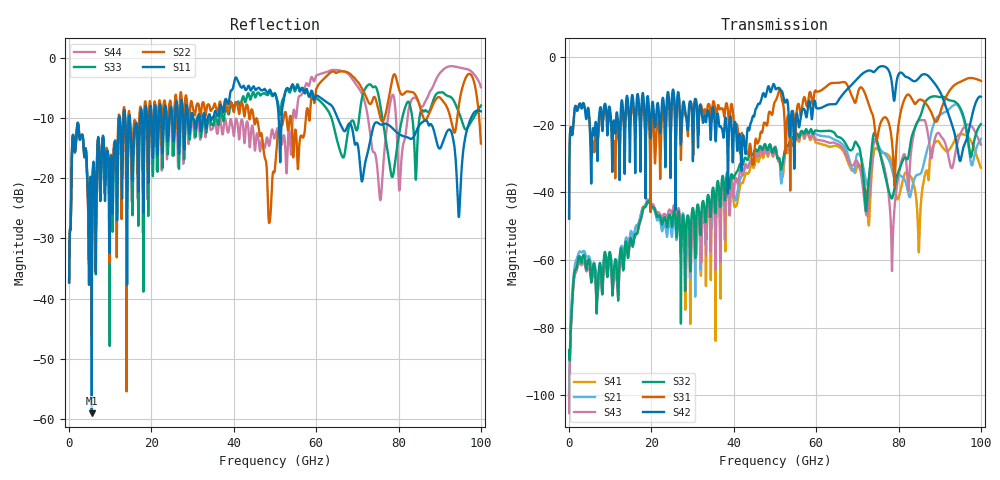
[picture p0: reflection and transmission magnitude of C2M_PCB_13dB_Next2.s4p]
! Info: Touchstone file created by Circ.  Input file=Intel_C2M_200G_2in_202204012_staggered.circ
# Hz S RI R 50
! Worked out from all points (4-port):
!   10000 points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, 10 MHz to 100 GHz, reference 50 ohm
!   strongest paths, dB at 10 MHz, 25.01 GHz, 50.01 GHz, 75.01 GHz, 100 GHz:
!     S42: -47.7, -11.6, -9.0, -3.2, -11.7
!     S31: -47.9, -13.8, -13.2, -22.9, -7.1
!     S32: -86.7, -50.3, -26.7, -26.0, -19.9
!     S43: -100.1, -46.2, -26.6, -26.5, -25.9
!     S21: -97.6, -52.9, -26.9, -25.9, -24.2
!     S41: -98.4, -48.3, -27.1, -27.4, -32.7
!   lowest |S11| = -59.0 dB at 5.52 GHz (marker M1), VSWR 1.00, Z = 50 - j0.104 ohm
!   |S11| at or under -10 dB: start of sweep to 12.13 GHz; 14.76 GHz to 17.25 GHz (2.487 GHz wide, 15.5 % of centre); 65.19 GHz to 97.61 GHz (32.42 GHz wide, 39.8 % of centre)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
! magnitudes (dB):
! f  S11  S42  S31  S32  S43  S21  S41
! 10 MHz  -37.2  -47.7  -47.9  -86.7  -100.1  -97.6  -98.4
! 5.52 GHz  -59.0  -27.6  -29.0  -65.8  -66.0  -61.9  -63.4
! 56.51 GHz  -5.1  -16.1  -15.6  -21.9  -22.0  -22.0  -22.3
! 74.55 GHz  -10.7  -3.8  -24.1  -23.6  -25.1  -24.7  -26.9
! 78.46 GHz  -11.7  -8.4  -25.7  -41.7  -62.0  -33.5  -31.7
! 84.76 GHz  -11.5  -6.5  -12.9  -18.9  -19.0  -34.8  -51.6
! 100 GHz  -8.9  -11.7  -7.1  -19.9  -25.9  -24.2  -32.7
